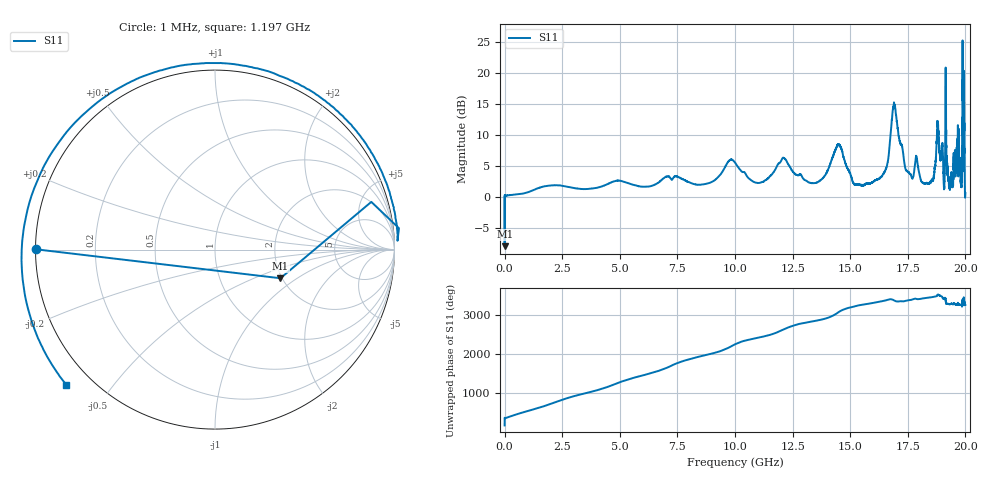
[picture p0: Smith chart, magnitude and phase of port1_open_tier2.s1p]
! Created with skrf 1.8.0 (http://scikit-rf.org).
# GHz S RI R 50.0
!freq ReS11 ImS11
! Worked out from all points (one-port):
!   10001 points, 1 MHz to 20 GHz, reference 50 ohm
!   lowest |S11| = -8.0 dB at 3 MHz (marker M1), VSWR 2.32, Z = 98 - j37.2 ohm
!   |S11| at or under -10 dB: nowhere
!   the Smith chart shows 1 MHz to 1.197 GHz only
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0.001  -0.9963 0.00149
0.0029999  0.3646 -0.1596
1.520924  0.1711 -1.174
2.500875  -0.5501 1.096
4.038798  1.177 0.1193
5.00075  -1.203 -0.6094
5.856707  1.214 -0.00111
6.940653  -1.391 -0.3164
7.500625  1.333 -0.5795
8.128594  -0.1052 1.277
9.390531  0.4694 -1.454
10.0005  -0.2522 1.874
10.86246  -0.4551 -1.224
11.69442  1.553 0.3613
12.0564  -0.5202 1.973
12.50038  -1.404 -0.7741
13.79631  1.349 0.3965
14.22829  -0.5077 2.002
14.46228  -2.609 -0.3155
15.00025  1.199 -0.9818
16.18819  -0.1433 1.373
16.84816  -4.703 1.867
16.99815  -2.045 3.904
17.50013  -1.272 0.952
18.82806  0.8644 -3.309
19.05205  -1.375 -0.0896
19.23804  1.016 1.332
20  0.9813 0.4303
